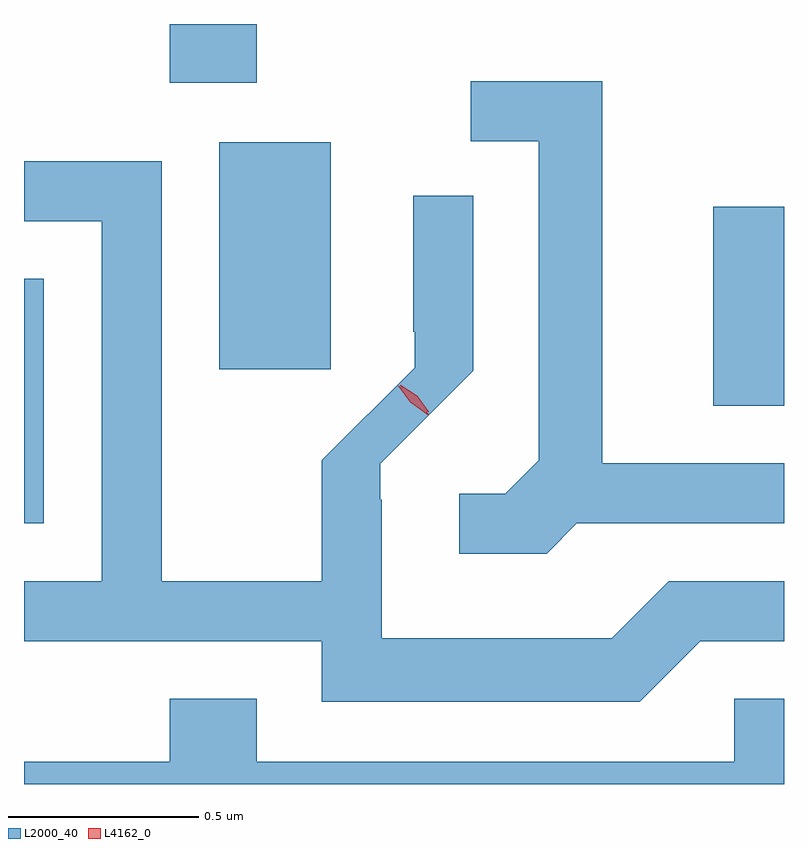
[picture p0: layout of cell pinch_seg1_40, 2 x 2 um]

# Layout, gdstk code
import gdstk
lib = gdstk.Library(unit=1e-6, precision=1e-09)
def R(c, l, rs):  # rectangles x0, y0, x1, y1
    for r in rs: c.add(gdstk.rectangle(r[:2], r[2:], *l))
def P(c, l, *ps):  # polygons
    for p in ps: c.add(gdstk.Polygon(p, *l))
L2000_40 = (2000, 40)
L4162_0 = (4162, 0)

pinch_seg1_40 = lib.new_cell('pinch_seg1_40')
R(pinch_seg1_40, L2000_40, [(1104.197,938.211,1104.249,938.854), (1106.011,938.521,1106.197,939.044), (1104.711,938.616,1105.004,939.214), (1104.581,939.371,1104.809,939.525)])
P(pinch_seg1_40, L2000_40, [(1105.652,938.211),(1106.197,938.211),(1106.197,938.369),(1105.719,938.369),(1105.719,939.374),(1105.373,939.374),(1105.373,939.216),(1105.551,939.216),(1105.551,938.377),(1105.464,938.289),(1105.343,938.289),(1105.343,938.131),(1105.572,938.131)],
  [(1105.977,937.901),(1106.197,937.901),(1106.197,938.059),(1105.894,938.059),(1105.744,937.909),(1105.139,937.909),(1105.139,938.273),(1105.135,938.273),(1105.135,938.368),(1105.379,938.612),(1105.379,939.073),(1105.221,939.073),(1105.221,938.715),(1105.225,938.715),(1105.225,938.621),(1104.981,938.377),(1104.981,938.059),(1104.559,938.059),(1104.559,939.164),(1104.197,939.164),(1104.197,939.006),(1104.401,939.006),(1104.401,938.059),(1104.197,938.059),(1104.197,937.901),(1104.981,937.901),(1104.981,937.741),(1105.817,937.741)],
  [(1106.197,937.749),(1106.066,937.749),(1106.066,937.584),(1104.809,937.584),(1104.809,937.749),(1104.581,937.749),(1104.581,937.584),(1104.197,937.584),(1104.197,937.525),(1106.197,937.525)])
P(pinch_seg1_40, L4162_0, [(1105.261,938.496),(1105.214,938.529),(1105.18,938.575),(1105.18,938.575),(1105.181,938.575),(1105.228,938.543),(1105.262,938.497),(1105.262,938.496)],
  [(1105.262,938.503),(1105.217,938.532),(1105.187,938.575),(1105.187,938.576),(1105.187,938.576),(1105.232,938.547),(1105.262,938.504),(1105.262,938.503)])

lib.write_gds('pinch_seg1_40.gds')
